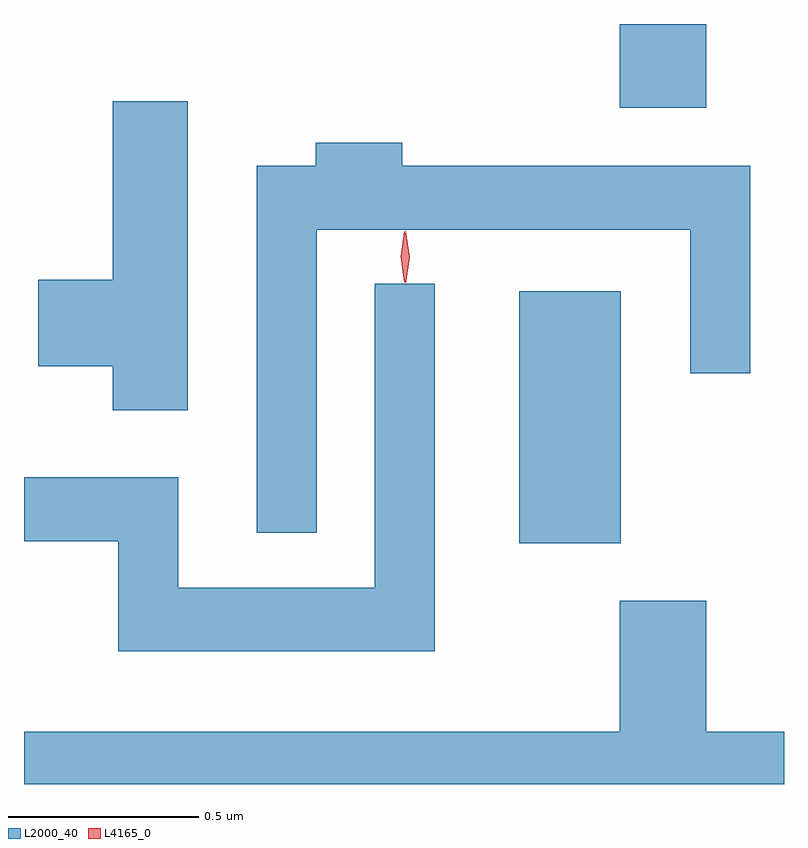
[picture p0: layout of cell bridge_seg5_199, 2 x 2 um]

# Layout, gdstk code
import gdstk
lib = gdstk.Library(unit=1e-6, precision=1e-09)
def R(c, l, rs):  # rectangles x0, y0, x1, y1
    for r in rs: c.add(gdstk.rectangle(r[:2], r[2:], *l))
def P(c, l, *ps):  # polygons
    for p in ps: c.add(gdstk.Polygon(p, *l))
L2000_40 = (2000, 40)
L4165_0 = (4165, 0)

bridge_seg5_199 = lib.new_cell('bridge_seg5_199')
R(bridge_seg5_199, L2000_40, [(1259.766,1417.601,1260.034,1418.264), (1260.031,1418.746,1260.259,1418.967)])
P(bridge_seg5_199, L2000_40, [(1258.894,1418.764),(1258.696,1418.764),(1258.696,1418.294),(1258.501,1418.294),(1258.501,1418.066),(1258.696,1418.066),(1258.696,1417.951),(1258.894,1417.951)],
  [(1259.234,1418.426),(1260.216,1418.426),(1260.216,1418.048),(1260.374,1418.048),(1260.374,1418.594),(1259.459,1418.594),(1259.459,1418.654),(1259.231,1418.654),(1259.231,1418.594),(1259.076,1418.594),(1259.076,1417.628),(1259.234,1417.628)],
  [(1259.544,1418.283),(1259.386,1418.283),(1259.386,1417.484),(1258.869,1417.484),(1258.869,1417.774),(1258.463,1417.774),(1258.463,1417.606),(1258.711,1417.606),(1258.711,1417.316),(1259.544,1417.316)],
  [(1260.463,1417.104),(1260.259,1417.104),(1260.259,1417.449),(1260.031,1417.449),(1260.031,1417.104),(1258.463,1417.104),(1258.463,1416.967),(1260.463,1416.967)])
P(bridge_seg5_199, L4165_0, [(1259.465,1418.287),(1259.464,1418.288),(1259.455,1418.354),(1259.464,1418.42),(1259.465,1418.421),(1259.465,1418.42),(1259.475,1418.354),(1259.465,1418.288)],
  [(1259.468,1418.283),(1259.467,1418.284),(1259.458,1418.353),(1259.467,1418.422),(1259.468,1418.423),(1259.468,1418.422),(1259.478,1418.353),(1259.468,1418.284)])

lib.write_gds('bridge_seg5_199.gds')
